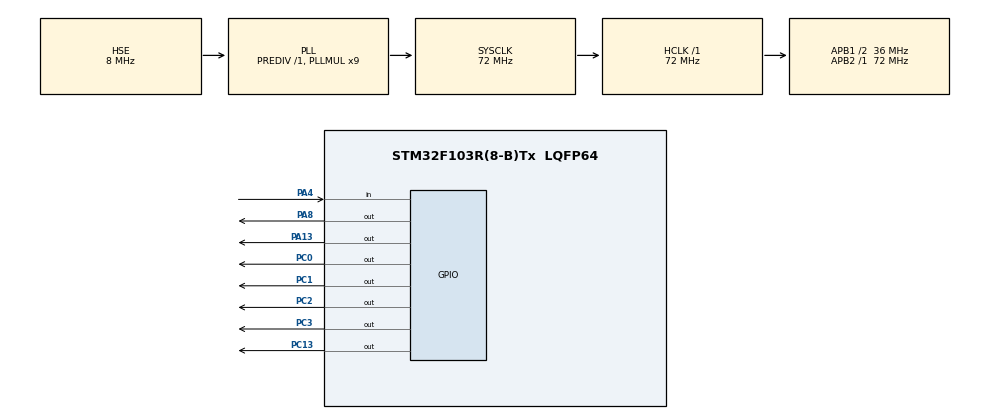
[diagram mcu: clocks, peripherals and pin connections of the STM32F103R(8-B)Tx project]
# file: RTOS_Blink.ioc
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FREERTOS.Tasks01=defaultTask,0,128,StartDefaultTask,Default,NULL,Dynamic,NULL,NULL;myTask02,-3,128,LED_Task01,Default,NULL,Dynamic,NULL,NULL;myTask03,-3,128,LED_Task02,Default,NULL,Dynamic,NULL,NULL;myTask04,-3,128,LED_Task03,Default,NULL,Dynamic,NULL,NULL;myTask05,-3,128,LED_Task04,Default,NULL,Dynamic,NULL,NULL;myTask06,-3,128,Button_Task,Default,NULL,Dynamic,NULL,NULL
FREERTOS.configTOTAL_HEAP_SIZE=5000
FREERTOS.configUSE_NEWLIB_REENTRANT=1
Mcu.Family=STM32F1
Mcu.Name=STM32F103R(8-B)Tx
Mcu.Package=LQFP64
NVIC.PriorityGroup=NVIC_PRIORITYGROUP_4
NVIC.TIM4_IRQn=true\:15\:0\:false\:false\:true\:false\:false\:true
NVIC.TimeBase=TIM4_IRQn
NVIC.TimeBaseIP=TIM4
PA13.Signal=GPIO_Output
PA4.Signal=GPIO_Input
PA8.Signal=GPIO_Output
PC0.Signal=GPIO_Output
PC1.Signal=GPIO_Output
PC13-TAMPER-RTC.Signal=GPIO_Output
PC2.Signal=GPIO_Output
PC3.Signal=GPIO_Output
PD0-OSC_IN.Mode=HSE-External-Oscillator
PD0-OSC_IN.Signal=RCC_OSC_IN
PD1-OSC_OUT.Mode=HSE-External-Oscillator
PD1-OSC_OUT.Signal=RCC_OSC_OUT
ProjectManager.HeapSize=0x200
ProjectManager.StackSize=0x400
ProjectManager.TargetToolchain=STM32CubeIDE
RCC.AHBFreq_Value=72000000
RCC.APB1CLKDivider=RCC_HCLK_DIV2
RCC.APB1Freq_Value=36000000
RCC.APB1TimFreq_Value=72000000
RCC.APB2Freq_Value=72000000
RCC.APB2TimFreq_Value=72000000
RCC.HCLKFreq_Value=72000000
RCC.PLLMUL=RCC_PLL_MUL9
RCC.PLLSourceVirtual=RCC_PLLSOURCE_HSE
RCC.SYSCLKFreq_VALUE=72000000
RCC.SYSCLKSource=RCC_SYSCLKSOURCE_PLLCLK
RCC.USBFreq_Value=72000000
VP_FREERTOS_VS_CMSIS_V1.Mode=CMSIS_V1
VP_SYS_VS_ND.Mode=No_Debug
VP_SYS_VS_tim4.Mode=TIM4
board=custom

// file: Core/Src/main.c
/* USER CODE BEGIN Header */
/**
  ******************************************************************************
  * @file           : main.c
  * @brief          : Main program body
  ******************************************************************************
  * @attention
  *
  * Copyright (c) 2022 STMicroelectronics.
  * All rights reserved.
  *
  * This software is licensed under terms that can be found in the LICENSE file
  * in the root directory of this software component.
  * If no LICENSE file comes with this software, it is provided AS-IS.
  *
  ******************************************************************************
  */
/* USER CODE END Header */
#include "main.h"
#include "cmsis_os.h"

osThreadId defaultTaskHandle;
osThreadId myTask02Handle;
osThreadId myTask03Handle;
osThreadId myTask04Handle;
osThreadId myTask05Handle;
osThreadId myTask06Handle;

void SystemClock_Config(void);
static void MX_GPIO_Init(void);
void StartDefaultTask(void const * argument);
void LED_Task01(void const * argument);
void LED_Task02(void const * argument);
void LED_Task03(void const * argument);
void LED_Task04(void const * argument);
void Button_Task(void const * argument);

int main(void)
{

  /* MCU Configuration--------------------------------------------------------*/

  /* Reset of all peripherals, Initializes the Flash interface and the Systick. */
  HAL_Init();

  /* Configure the system clock */
  SystemClock_Config();

  /* Initialize all configured peripherals */
  MX_GPIO_Init();

  /* Create the thread(s) */
  /* definition and creation of defaultTask */
  osThreadDef(defaultTask, StartDefaultTask, osPriorityNormal, 0, 128);
  defaultTaskHandle = osThreadCreate(osThread(defaultTask), NULL);

  /* definition and creation of myTask02 */
  osThreadDef(myTask02, LED_Task01, osPriorityIdle, 0, 128);
  myTask02Handle = osThreadCreate(osThread(myTask02), NULL);

  /* definition and creation of myTask03 */
  osThreadDef(myTask03, LED_Task02, osPriorityIdle, 0, 128);
  myTask03Handle = osThreadCreate(osThread(myTask03), NULL);

  /* definition and creation of myTask04 */
  osThreadDef(myTask04, LED_Task03, osPriorityIdle, 0, 128);
  myTask04Handle = osThreadCreate(osThread(myTask04), NULL);

  /* definition and creation of myTask05 */
  osThreadDef(myTask05, LED_Task04, osPriorityIdle, 0, 128);
  myTask05Handle = osThreadCreate(osThread(myTask05), NULL);

  /* definition and creation of myTask06 */
  osThreadDef(myTask06, Button_Task, osPriorityIdle, 0, 128);
  myTask06Handle = osThreadCreate(osThread(myTask06), NULL);

  /* Start scheduler */
  osKernelStart();

  /* We should never get here as control is now taken by the scheduler */
  /* Infinite loop */
  /* USER CODE BEGIN WHILE */
  while (1)
  {
	  HAL_GPIO_TogglePin(GPIOC, GPIO_PIN_0);
	  HAL_Delay(200);
    /* USER CODE END WHILE */

  }
}

void SystemClock_Config(void)
{
  RCC_OscInitTypeDef RCC_OscInitStruct = {0};
  RCC_ClkInitTypeDef RCC_ClkInitStruct = {0};

  /** Initializes the RCC Oscillators according to the specified parameters
  * in the RCC_OscInitTypeDef structure.
  */
  RCC_OscInitStruct.OscillatorType = RCC_OSCILLATORTYPE_HSE;
  RCC_OscInitStruct.HSEState = RCC_HSE_ON;
  RCC_OscInitStruct.HSEPredivValue = RCC_HSE_PREDIV_DIV1;
  RCC_OscInitStruct.HSIState = RCC_HSI_ON;
  RCC_OscInitStruct.PLL.PLLState = RCC_PLL_ON;
  RCC_OscInitStruct.PLL.PLLSource = RCC_PLLSOURCE_HSE;
  RCC_OscInitStruct.PLL.PLLMUL = RCC_PLL_MUL9;
  if (HAL_RCC_OscConfig(&RCC_OscInitStruct) != HAL_OK)
  {
    Error_Handler();
  }
  /** Initializes the CPU, AHB and APB buses clocks
  */
  RCC_ClkInitStruct.ClockType = RCC_CLOCKTYPE_HCLK|RCC_CLOCKTYPE_SYSCLK
                              |RCC_CLOCKTYPE_PCLK1|RCC_CLOCKTYPE_PCLK2;
  RCC_ClkInitStruct.SYSCLKSource = RCC_SYSCLKSOURCE_PLLCLK;
  RCC_ClkInitStruct.AHBCLKDivider = RCC_SYSCLK_DIV1;
  RCC_ClkInitStruct.APB1CLKDivider = RCC_HCLK_DIV2;
  RCC_ClkInitStruct.APB2CLKDivider = RCC_HCLK_DIV1;

  if (HAL_RCC_ClockConfig(&RCC_ClkInitStruct, FLASH_LATENCY_2) != HAL_OK)
  {
    Error_Handler();
  }
}

static void MX_GPIO_Init(void)
{
  GPIO_InitTypeDef GPIO_InitStruct = {0};

  /* GPIO Ports Clock Enable */
  __HAL_RCC_GPIOD_CLK_ENABLE();
  __HAL_RCC_GPIOC_CLK_ENABLE();
  __HAL_RCC_GPIOA_CLK_ENABLE();

  /*Configure GPIO pin Output Level */
  HAL_GPIO_WritePin(GPIOC, GPIO_PIN_0|GPIO_PIN_1|GPIO_PIN_2|GPIO_PIN_3, GPIO_PIN_RESET);

  /*Configure GPIO pins : PC0 PC1 PC2 PC3 */
  GPIO_InitStruct.Pin = GPIO_PIN_0|GPIO_PIN_1|GPIO_PIN_2|GPIO_PIN_3;
  GPIO_InitStruct.Mode = GPIO_MODE_OUTPUT_PP;
  GPIO_InitStruct.Pull = GPIO_NOPULL;
  GPIO_InitStruct.Speed = GPIO_SPEED_FREQ_LOW;
  HAL_GPIO_Init(GPIOC, &GPIO_InitStruct);

  /*Configure GPIO pin : PA4 */
  GPIO_InitStruct.Pin = GPIO_PIN_4;
  GPIO_InitStruct.Mode = GPIO_MODE_INPUT;
  GPIO_InitStruct.Pull = GPIO_NOPULL;
  HAL_GPIO_Init(GPIOA, &GPIO_InitStruct);

}

void StartDefaultTask(void const * argument)
{
  for(;;)
  {
    osDelay(1);
  }
}

void LED_Task01(void const * argument) {
  /* USER CODE BEGIN LED_Task01 */
  /* Infinite loop */
  for(;;) {
	  HAL_GPIO_TogglePin(GPIOC, GPIO_PIN_0);
	  osDelay(400);
  }
  /* USER CODE END LED_Task01 */
}

void LED_Task02(void const * argument) {
  /* USER CODE BEGIN LED_Task02 */
  /* Infinite loop */
  for(;;) {
	  HAL_GPIO_TogglePin(GPIOC, GPIO_PIN_1);
	  osDelay(300);
  }
  /* USER CODE END LED_Task02 */
}

void LED_Task03(void const * argument) {
  /* USER CODE BEGIN LED_Task03 */
  /* Infinite loop */
	for(;;) {
		HAL_GPIO_TogglePin(GPIOC, GPIO_PIN_2);
		osDelay(200);
	}
  /* USER CODE END LED_Task03 */
}

void LED_Task04(void const * argument) {
  /* USER CODE BEGIN LED_Task04 */
	uint8_t queData;
	/* Infinite loop */
	for(;;) {
		if(QisEmpty(&hQue_ButtonRunStop) == 0)
			queData = DeQueue(&hQue_ButtonRunStop);

		if(queData)
			HAL_GPIO_TogglePin(GPIOC, GPIO_PIN_3);

		osDelay(100);
	}
  /* USER CODE END LED_Task04 */
}

void Button_Task(void const * argument) {
  /* USER CODE BEGIN Button_Task */
	uint8_t data = 0;
	/* Infinite loop */
	for(;;) {
		if(Button_GetState(&hButton_RunStop)) {
			data ^= 1;
			EnQueue(&hQue_ButtonRunStop, data);
		}
		osDelay(50);
	}
  /* USER CODE END Button_Task */
}

void HAL_TIM_PeriodElapsedCallback(TIM_HandleTypeDef *htim)
{
  if (htim->Instance == TIM4) {
    HAL_IncTick();
  }
}

void Error_Handler(void)
{
  __disable_irq();
  while (1)
  {
  }
}
